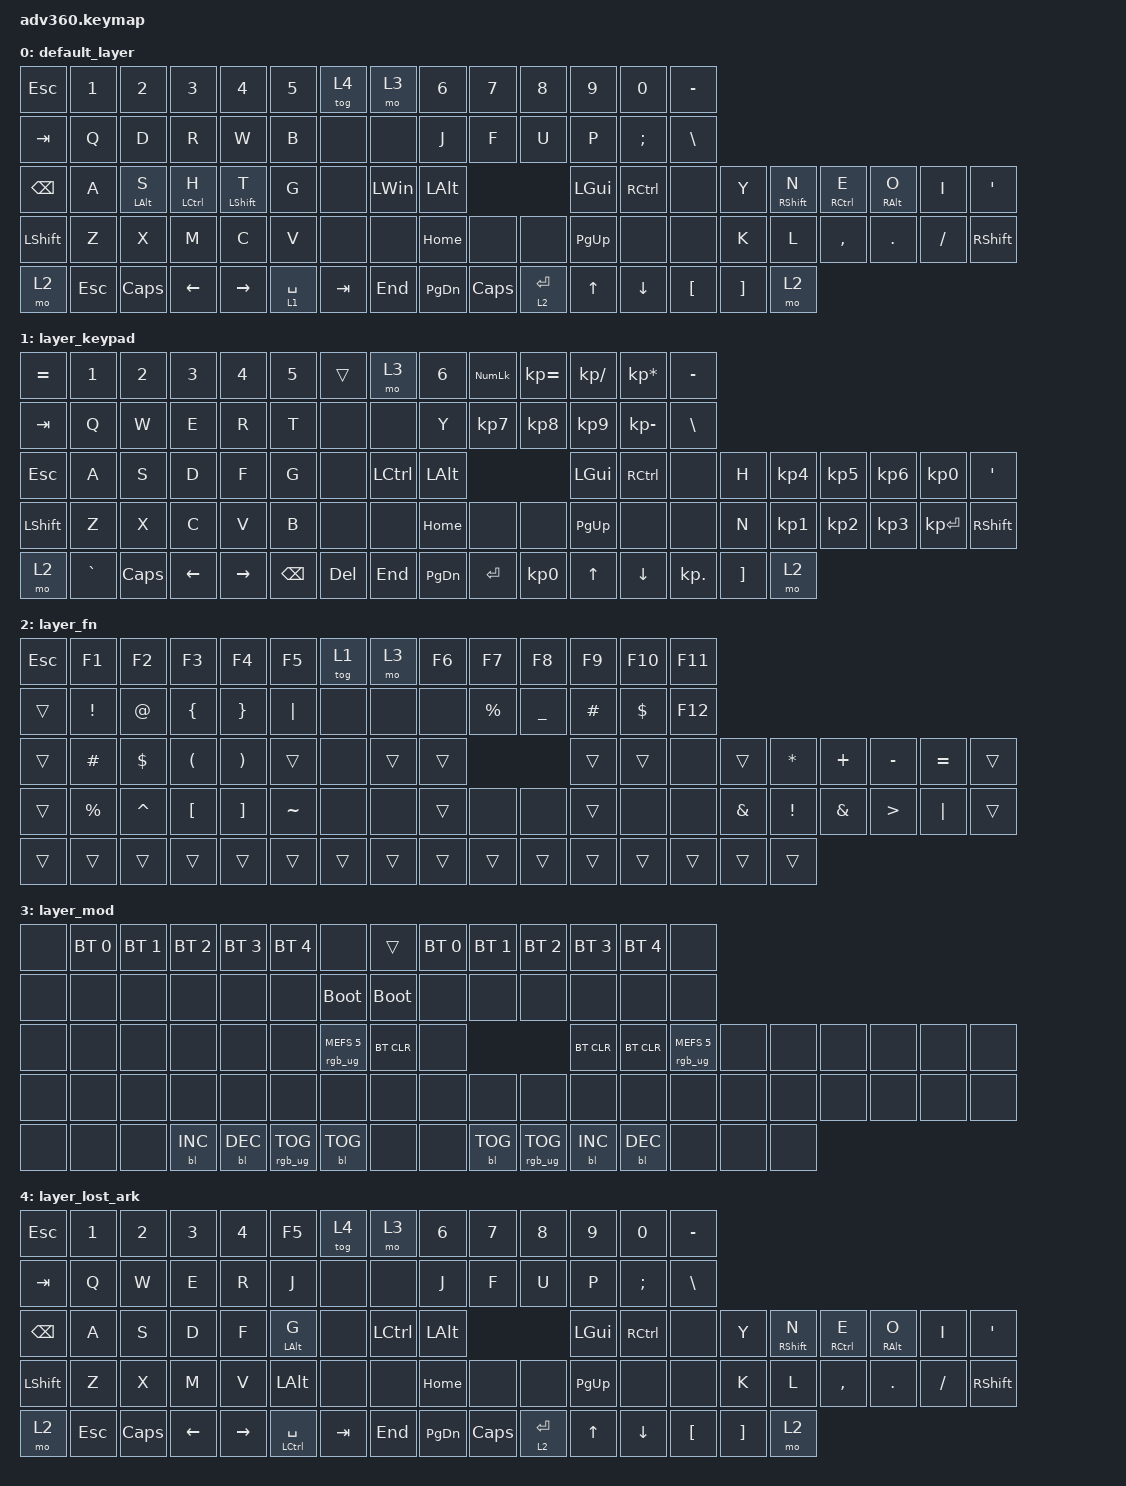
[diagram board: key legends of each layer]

/*
 * Copyright (c) 2020 The ZMK Contributors
 *
 * SPDX-License-Identifier: MIT
 */


/* THIS FILE WAS GENERATED!
 *
 * This file was generated automatically. You may or may not want to
 * edit it directly.
 */

#include <behaviors.dtsi>
#include <dt-bindings/zmk/keys.h>
#include <dt-bindings/zmk/bt.h>
#include <dt-bindings/zmk/rgb.h>
#include <dt-bindings/zmk/backlight.h>

/ {
  behaviors {
    #include "macros.dtsi"

    hm: homerow_mods {
        compatible = "zmk,behavior-hold-tap";
        label = "HOMEROW_MODS";
        #binding-cells = <2>;
        tapping-term-ms = <175>;
        quick_tap_ms = <100>;
        flavor = "tap-preferred";
        bindings = <&kp>, <&kp>;
    };
  };

    keymap {
        compatible = "zmk,keymap";


        default_layer {
            bindings = <
    &kp ESCAPE   &kp N1    &kp N2    &kp N3     &kp N4     &kp N5             &tog 4      &mo 3     &kp N6        &kp N7     &kp N8     &kp N9         &kp N0  &kp MINUS
       &kp TAB    &kp Q     &kp D     &kp R      &kp W      &kp B              &none      &none      &kp J         &kp F      &kp U      &kp P  &kp SEMICOLON   &kp BSLH
 &kp BACKSPACE    &kp A     &hm LALT S     &hm LCTRL H      &hm LSHIFT T      &kp G              &none  &kp LWIN   &kp LALT                            &kp LGUI      &kp RCTRL      &none     &kp Y   &hm RSHIFT N      &hm RCTRL E    &hm RALT O     &kp I    &kp SQT
     &kp LSHFT    &kp Z     &kp X     &kp M      &kp C      &kp V              &none      &none   &kp HOME         &none      &none  &kp PG_UP          &none      &none     &kp K   &kp L  &kp COMMA  &kp DOT  &kp FSLH  &kp RSHFT
         &mo 2  &kp ESC  &kp CAPS  &kp LEFT  &kp RIGHT  &lt 1 SPACE            &kp TAB    &kp END  &kp PG_DN  &kp CAPSLOCK  &lt 2 ENTER     &kp UP       &kp DOWN   &kp LBKT  &kp RBKT   &mo 2
            >;
        };

        layer_keypad {
            bindings = <
 &kp EQUAL     &kp N1    &kp N2    &kp N3     &kp N4    &kp N5             &trans      &mo 3     &kp N6  &kp KP_NUM  &kp KP_EQUAL  &kp KP_DIVIDE  &kp KP_MULTIPLY   &kp MINUS
   &kp TAB      &kp Q     &kp W     &kp E      &kp R     &kp T              &none      &none      &kp Y   &kp KP_N7     &kp KP_N8      &kp KP_N9     &kp KP_MINUS    &kp BSLH
   &kp ESC      &kp A     &kp S     &kp D      &kp F     &kp G              &none  &kp LCTRL   &kp LALT                                 &kp LGUI        &kp RCTRL       &none     &kp H  &kp KP_N4  &kp KP_N5  &kp KP_N6   &kp KP_N0    &kp SQT
 &kp LSHFT      &kp Z     &kp X     &kp C      &kp V     &kp B              &none      &none   &kp HOME       &none         &none      &kp PG_UP            &none       &none     &kp N  &kp KP_N1  &kp KP_N2  &kp KP_N3  &kp KP_ENTER  &kp RSHFT
     &mo 2  &kp GRAVE  &kp CAPS  &kp LEFT  &kp RIGHT  &kp BSPC            &kp DEL    &kp END  &kp PG_DN   &kp ENTER     &kp KP_N0         &kp UP         &kp DOWN  &kp KP_DOT  &kp RBKT      &mo 2
            >;
        };

        layer_fn {
            bindings = <
 &kp ESCAPE  &kp F1  &kp F2  &kp F3  &kp F4  &kp F5            &tog 1   &mo 3  &kp F6  &kp F7  &kp F8  &kp F9  &kp F10  &kp F11
 &trans  &kp EXCL  &kp AT  &kp LBRC  &kp RBRC  &kp PIPE             &none   &none  &none &kp PRCNT &kp UNDER  &kp HASH   &kp DLLR &kp F12
 &trans  &kp HASH  &kp DLLR  &kp LPAR  &kp RPAR  &trans             &none  &trans  &trans                   &trans   &trans    &none  &trans  &kp STAR  &kp PLUS  &kp MINUS  &kp EQUAL  &trans
 &trans  &kp PRCNT  &kp CARET  &kp LBKT  &kp RBKT  &kp TILDE             &none   &none  &trans   &none   &none   &trans    &none    &none  &kp AMPS  &kp EXCL  &kp AMPS  &kp GT  &kp PIPE  &trans
 &trans  &trans  &trans  &trans  &trans  &trans            &trans  &trans  &trans  &trans  &trans   &trans   &trans   &trans  &trans  &trans
            >;
        };

        layer_mod {
            bindings = <
  &none  &bt BT_SEL 0  &bt BT_SEL 1  &bt BT_SEL 2  &bt BT_SEL 3     &bt BT_SEL 4                             &none       &trans  &bt BT_SEL 0  &bt BT_SEL 1     &bt BT_SEL 2  &bt BT_SEL 3  &bt BT_SEL 4                   &none
  &none         &none         &none         &none         &none            &none                       &bootloader  &bootloader         &none         &none            &none         &none         &none                   &none
  &none         &none         &none         &none         &none            &none            &rgb_ug RGB_MEFS_CMD 5   &bt BT_CLR         &none                                   &bt BT_CLR    &bt BT_CLR  &rgb_ug RGB_MEFS_CMD 5   &none   &none   &none   &none   &none   &none
  &none         &none         &none         &none         &none            &none                             &none        &none         &none         &none            &none         &none         &none                   &none   &none   &none   &none   &none   &none   &none
  &none         &none         &none    &bl BL_INC    &bl BL_DEC  &rgb_ug RGB_TOG                        &bl BL_TOG        &none         &none    &bl BL_TOG  &rgb_ug RGB_TOG    &bl BL_INC    &bl BL_DEC                   &none   &none   &none
            >;
        };
        
        layer_lost_ark {
            bindings = <
    &kp ESCAPE   &kp N1    &kp N2    &kp N3     &kp N4     &kp F5             &tog 4      &mo 3     &kp N6        &kp N7     &kp N8     &kp N9         &kp N0  &kp MINUS
       &kp TAB    &kp Q     &kp W     &kp E      &kp R      &kp J              &none      &none      &kp J         &kp F      &kp U      &kp P  &kp SEMICOLON   &kp BSLH
 &kp BACKSPACE    &kp A     &kp S     &kp D      &kp F      &hm LALT G              &none  &kp LCTRL   &kp LALT                            &kp LGUI      &kp RCTRL      &none     &kp Y   &hm RSHIFT N      &hm RCTRL E    &hm RALT O     &kp I    &kp SQT
     &kp LSHFT    &kp Z     &kp X     &kp M      &kp V      &kp LALT              &none      &none   &kp HOME         &none      &none  &kp PG_UP          &none      &none     &kp K   &kp L  &kp COMMA  &kp DOT  &kp FSLH  &kp RSHFT
         &mo 2  &kp ESC  &kp CAPS  &kp LEFT  &kp RIGHT  &hm LCTRL SPACE            &kp TAB    &kp END  &kp PG_DN  &kp CAPSLOCK  &lt 2 ENTER     &kp UP       &kp DOWN   &kp LBKT  &kp RBKT   &mo 2
            >;
        };

    };
};
